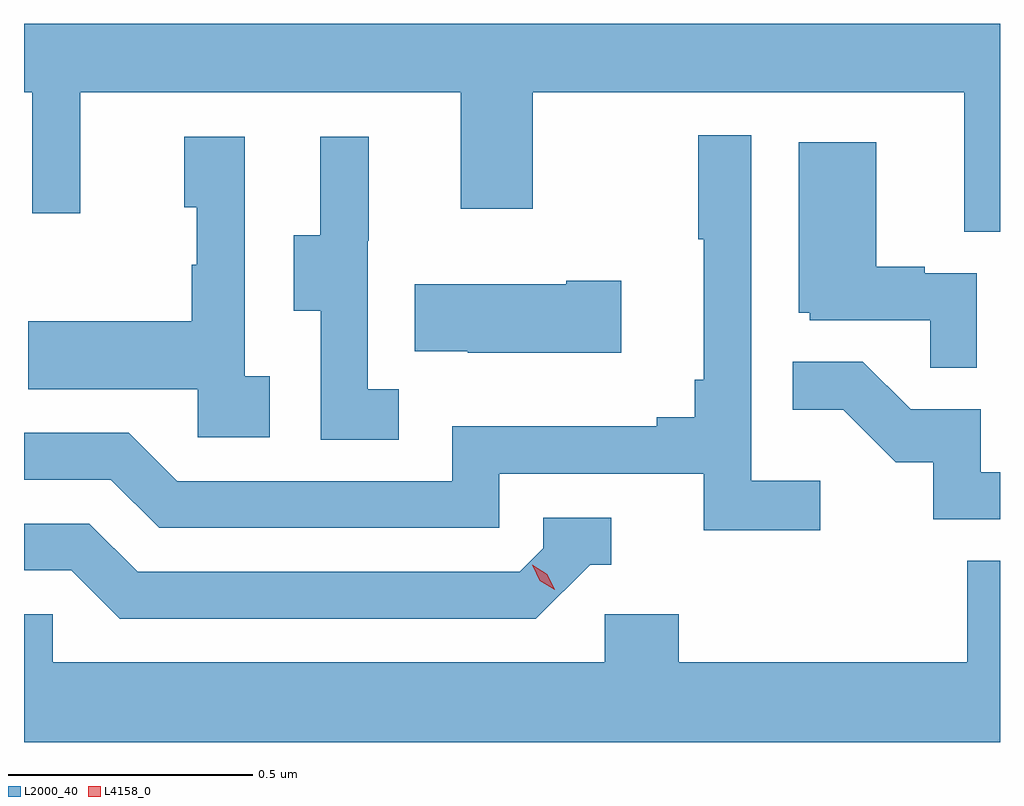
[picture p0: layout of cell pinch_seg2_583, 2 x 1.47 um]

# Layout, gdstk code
import gdstk
lib = gdstk.Library(unit=1e-6, precision=1e-09)
def P(c, l, *ps):  # polygons
    for p in ps: c.add(gdstk.Polygon(p, *l))
L2000_40 = (2000, 40)
L4158_0 = (4158, 0)

pinch_seg2_583 = lib.new_cell('pinch_seg2_583')
P(pinch_seg2_583, L2000_40, [(1140.114,619.804),(1138.114,619.804),(1138.114,619.664),(1138.131,619.664),(1138.131,619.416),(1138.229,619.416),(1138.229,619.664),(1139.009,619.664),(1139.009,619.425),(1139.157,619.425),(1139.157,619.664),(1140.041,619.664),(1140.041,619.378),(1140.114,619.378)],
  [(1139.746,618.868),(1139.604,618.868),(1139.604,619.576),(1139.496,619.576),(1139.496,619.363),(1139.507,619.363),(1139.507,619.075),(1139.488,619.075),(1139.488,618.998),(1139.411,618.998),(1139.411,618.979),(1138.992,618.979),(1138.992,618.867),(1138.428,618.867),(1138.329,618.966),(1138.114,618.966),(1138.114,618.87),(1138.292,618.87),(1138.391,618.771),(1139.088,618.771),(1139.088,618.882),(1139.507,618.882),(1139.507,618.766),(1139.746,618.766)],
  [(1138.618,619.082),(1138.566,619.082),(1138.566,619.573),(1138.442,619.573),(1138.442,619.428),(1138.468,619.428),(1138.468,619.31),(1138.458,619.31),(1138.458,619.195),(1138.123,619.195),(1138.123,619.055),(1138.47,619.055),(1138.47,618.957),(1138.618,618.957)],
  [(1138.882,619.055),(1138.818,619.055),(1138.818,619.359),(1138.82,619.359),(1138.82,619.573),(1138.721,619.573),(1138.721,619.371),(1138.667,619.371),(1138.667,619.216),(1138.722,619.216),(1138.722,618.952),(1138.882,618.952)],
  [(1140.066,619.293),(1139.96,619.293),(1139.96,619.306),(1139.86,619.306),(1139.86,619.561),(1139.702,619.561),(1139.702,619.212),(1139.724,619.212),(1139.724,619.197),(1139.971,619.197),(1139.971,619.099),(1140.066,619.099)],
  [(1139.338,619.278),(1139.225,619.278),(1139.225,619.27),(1138.915,619.27),(1138.915,619.133),(1139.023,619.133),(1139.023,619.13),(1139.338,619.13)],
  [(1140.114,618.885),(1140.075,618.885),(1140.075,619.014),(1139.931,619.014),(1139.833,619.112),(1139.689,619.112),(1139.689,619.013),(1139.793,619.013),(1139.9,618.906),(1139.977,618.906),(1139.977,618.789),(1140.114,618.789)],
  [(1139.274,618.696),(1139.317,618.696),(1139.317,618.792),(1139.178,618.792),(1139.178,618.729),(1139.13,618.681),(1138.347,618.681),(1138.248,618.78),(1138.114,618.78),(1138.114,618.684),(1138.211,618.684),(1138.31,618.585),(1139.163,618.585)],
  [(1140.114,618.704),(1140.047,618.704),(1140.047,618.496),(1139.456,618.496),(1139.456,618.594),(1139.304,618.594),(1139.304,618.496),(1138.173,618.496),(1138.173,618.594),(1138.114,618.594),(1138.114,618.332),(1140.114,618.332)])
P(pinch_seg2_583, L4158_0, [(1139.202,618.644),(1139.171,618.663),(1139.155,618.696),(1139.155,618.696),(1139.156,618.696),(1139.186,618.676),(1139.202,618.644),(1139.202,618.644)])

lib.write_gds('pinch_seg2_583.gds')
